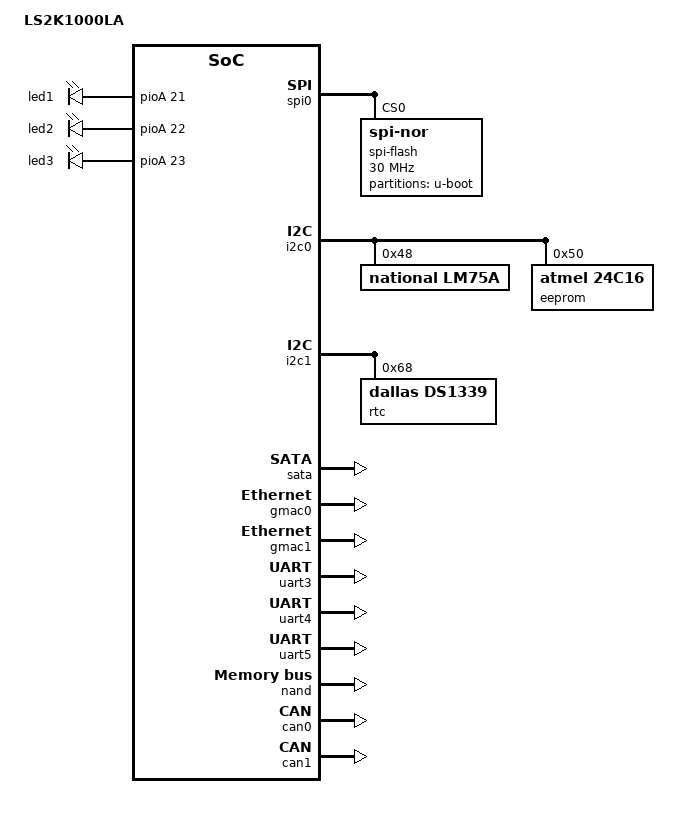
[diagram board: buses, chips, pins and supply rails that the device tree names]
#include "loongson2k1000.dtsi"
#include "loongson_panel_param.dtsi"

/ {
	model = "LS2K1000LA";

	chosen {
		stdout-path = "serial0:115200n8";
		bootargs = "earlycon";
	};

	reserved-memory {
		#address-cells = <2>;
		#size-cells = <2>;
		ranges;

		fb_memory: framebuffer {
			compatible = "shared-dma-pool";
			no-map;
			reg = <0 0x0b000000 0 0x04000000>; /* 64M */
		};

		linux,cma {
			compatible = "shared-dma-pool";
			reusable;
			size = <0 0x2000000>;
			linux,cma-default;
		};
	};

	leds {
		compatible = "gpio-leds";

		BOOT {
			label = "led1";
			gpios = <&pioA 21 GPIO_ACTIVE_HIGH>;
			default-state = "on";
		};

		SYSTEM {
			label = "led2";
			gpios = <&pioA 22 GPIO_ACTIVE_HIGH>;
			default-state = "on";
		};

		RUN {
			label = "led3";
			gpios = <&pioA 23 GPIO_ACTIVE_HIGH>;
			linux,default-trigger = "heartbeat";
			default-state = "on";
		};
	};
};

&spi0 {
	status = "okay";

	spi-flash@0 {
		compatible = "jedec,spi-nor";
		spi-max-frequency = <30000000>;
		reg = <0>; /* CS0 */

		partitions {
			compatible = "fixed-partitions";
			#address-cells = <1>;
			#size-cells = <1>;

			partition@0 {
				label = "u-boot";
				reg = <0x0000000 0x100000>;
				read-only;
			};
		};
	};
};

&i2c0 {
	status = "okay";

	lm75a@48 {
		compatible = "national,lm75a";
		reg = <0x48>;
	};

	eeprom@50 {
		compatible = "atmel,24c16";
		reg = <0x50>;
		pagesize = <16>;
	};
};

&i2c1 {
	status = "okay";

	rtc@68 {
		compatible = "dallas,ds1339";
		reg = <0x68>;
	};
};

&sata {
	status = "okay";

	pinctrl-0 = <&ahci_default>;
	pinctrl-names = "default";
	ports-implemented = <0x1>;
};

&gmac0 {
	status = "okay";
};

&gmac1 {
	status = "okay";
};

&uart3 {
	status = "okay";
};

&uart4 {
	status = "okay";
};

&uart5 {
	status = "okay";
};

&nand {
	status = "okay";

	nand-cs = <0>;
	number-of-parts = <0x2>;
	partitions {
		compatible = "fixed-partitions";
		#address-cells = <1>;
		#size-cells = <1>;

		partition@0 {
			label = "kernel";
			reg = <0x0000000 0xe00000>;
		};

		partition@1 {
			label = "root";
			reg = <0x00e00000 0x0>;
		};
	};
};

&can0 {
	status = "okay";

	clocks = <&clks CLK_CAN>;
	net,tx_queue_len = <1024>;
};

&can1 {
	status = "okay";

	clocks = <&clks CLK_CAN>;
	net,tx_queue_len = <1024>;
};
